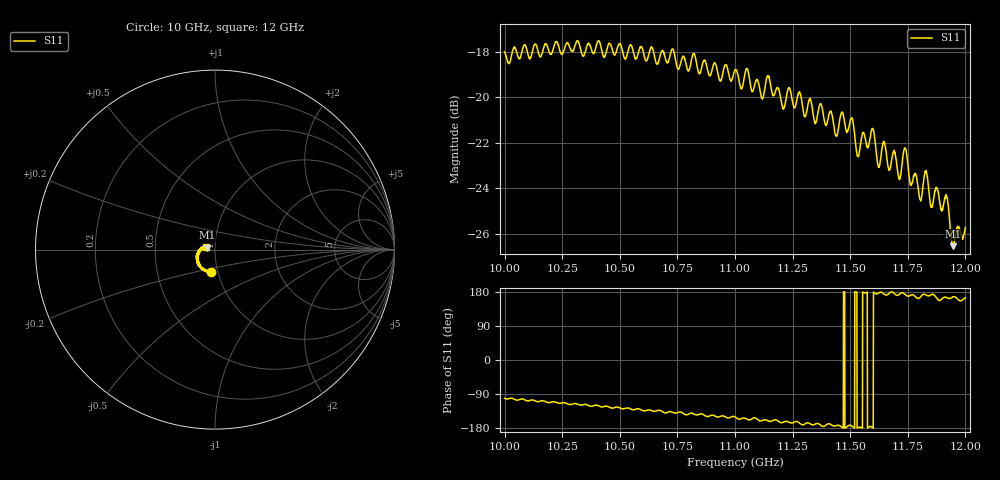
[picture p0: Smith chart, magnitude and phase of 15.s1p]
[Version] 2.0
! Rohde & Schwarz Vector Network Analyzer
! Rohde-Schwarz,ZNL20-2Port,1323001220200009,1.71.1.10-23.02.1.238
! Port Assignments:
! Nominal Port -> Actual Test Port
!  1 -> 1
! Created: GMT 2024-09-04 10:37:01
# Hz S DB R 50
[Number of Ports] 1
! freq[Hz]  S11[mag dB]  S11[ang]
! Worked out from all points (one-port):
!   2001 points, 10 GHz to 12 GHz, reference 50 ohm
!   lowest |S11| = -26.6 dB at 11.95 GHz (marker M1), VSWR 1.10, Z = 45.6 + j0.992 ohm
!   |S11| at or under -10 dB: start of sweep to end of sweep
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[Number of Frequencies] 28
[Network Data]
1e10  -17.99 -101.2
1.025e10  -18.07 -113.0
1.05e10  -17.63 -126.3
1.0662e10  -18.52 -133.6
1.0729e10  -17.87 -137.8
1.075e10  -18.70 -139.2
1.0821e10  -18.07 -142.6
1.0845e10  -18.95 -143.2
1.1e10  -18.77 -150.1
1.125e10  -20.21 -165.9
1.1415e10  -20.61 -170.1
1.1439e10  -21.71 -173.3
1.1463e10  -20.67 -177.1
1.15e10  -21.03 -171.8
1.1533e10  -22.61 -178.7
1.1597e10  -21.39 -178.3
1.1623e10  -23.08 176.8
1.1646e10  -21.95 174.5
1.1712e10  -23.55 172.7
1.1736e10  -22.23 174.1
1.175e10  -22.91 168.6
1.1804e10  -24.50 165.9
1.1828e10  -23.23 172.0
1.1852e10  -24.84 172.3
1.1874e10  -23.96 164.6
1.1917e10  -24.33 165.0
1.1945e10  -26.55 166.7
1.2e10  -25.72 163.8
[End]
